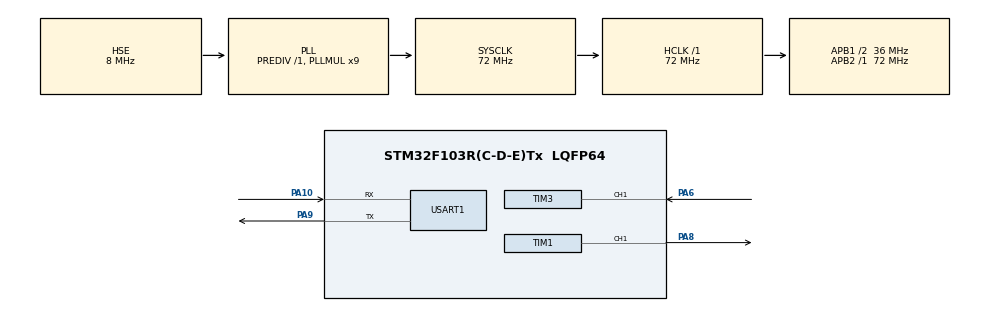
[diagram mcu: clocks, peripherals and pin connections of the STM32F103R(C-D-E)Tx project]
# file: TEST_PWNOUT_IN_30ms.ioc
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Mcu.Family=STM32F1
Mcu.Name=STM32F103R(C-D-E)Tx
Mcu.Package=LQFP64
NVIC.PriorityGroup=NVIC_PRIORITYGROUP_4
NVIC.TIM3_IRQn=true\:0\:0\:false\:false\:true
NVIC.USART1_IRQn=true\:0\:0\:false\:false\:true
PA10.Mode=Asynchronous
PA10.Signal=USART1_RX
PA13.Mode=Serial_Wire
PA13.Signal=SYS_JTMS-SWDIO
PA14.Mode=Serial_Wire
PA14.Signal=SYS_JTCK-SWCLK
PA6.Signal=S_TIM3_CH1
PA8.Signal=S_TIM1_CH1
PA9.Mode=Asynchronous
PA9.Signal=USART1_TX
PD0-OSC_IN.Mode=HSE-External-Oscillator
PD0-OSC_IN.Signal=RCC_OSC_IN
PD1-OSC_OUT.Mode=HSE-External-Oscillator
PD1-OSC_OUT.Signal=RCC_OSC_OUT
ProjectManager.HeapSize=0x200
ProjectManager.StackSize=0x400
ProjectManager.TargetToolchain=MDK-ARM V5
RCC.AHBFreq_Value=72000000
RCC.APB1CLKDivider=RCC_HCLK_DIV2
RCC.APB1Freq_Value=36000000
RCC.APB1TimFreq_Value=72000000
RCC.APB2Freq_Value=72000000
RCC.APB2TimFreq_Value=72000000
RCC.HCLKFreq_Value=72000000
RCC.PLLMUL=RCC_PLL_MUL9
RCC.PLLSourceVirtual=RCC_PLLSOURCE_HSE
RCC.SYSCLKFreq_VALUE=72000000
RCC.SYSCLKSource=RCC_SYSCLKSOURCE_PLLCLK
RCC.USBFreq_Value=72000000
SH.S_TIM1_CH1.0=TIM1_CH1,PWM Generation1 CH1
SH.S_TIM3_CH1.0=TIM3_CH1,Input_Capture1_from_TI1
TIM1.Channel-PWM\ Generation1\ CH1=TIM_CHANNEL_1
TIM1.Period=19999
TIM1.Prescaler=71
TIM1.Pulse-PWM\ Generation1\ CH1=5000
TIM3.Channel-Input_Capture1_from_TI1=TIM_CHANNEL_1
TIM3.Period=0xFFFF
TIM3.Prescaler=71
USART1.VirtualMode=VM_ASYNC
board=TEST_PWNOUT_IN_30ms

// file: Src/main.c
/**
  ******************************************************************************
  * File Name          : main.c
  * Description        : Main program body
  ******************************************************************************
  ** This notice applies to any and all portions of this file
  * that are not between comment pairs USER CODE BEGIN and
  * USER CODE END. Other portions of this file, whether
  * inserted by the user or by software development tools
  * are owned by their respective copyright owners.
  *
  * COPYRIGHT(c) 2017 STMicroelectronics
  *
  * Redistribution and use in source and binary forms, with or without modification,
  * are permitted provided that the following conditions are met:
  *   1. Redistributions of source code must retain the above copyright notice,
  *      this list of conditions and the following disclaimer.
  *   2. Redistributions in binary form must reproduce the above copyright notice,
  *      this list of conditions and the following disclaimer in the documentation
  *      and/or other materials provided with the distribution.
  *   3. Neither the name of STMicroelectronics nor the names of its contributors
  *      may be used to endorse or promote products derived from this software
  *      without specific prior written permission.
  *
  * THIS SOFTWARE IS PROVIDED BY THE COPYRIGHT HOLDERS AND CONTRIBUTORS "AS IS"
  * AND ANY EXPRESS OR IMPLIED WARRANTIES, INCLUDING, BUT NOT LIMITED TO, THE
  * IMPLIED WARRANTIES OF MERCHANTABILITY AND FITNESS FOR A PARTICULAR PURPOSE ARE
  * DISCLAIMED. IN NO EVENT SHALL THE COPYRIGHT HOLDER OR CONTRIBUTORS BE LIABLE
  * FOR ANY DIRECT, INDIRECT, INCIDENTAL, SPECIAL, EXEMPLARY, OR CONSEQUENTIAL
  * DAMAGES (INCLUDING, BUT NOT LIMITED TO, PROCUREMENT OF SUBSTITUTE GOODS OR
  * SERVICES; LOSS OF USE, DATA, OR PROFITS; OR BUSINESS INTERRUPTION) HOWEVER
  * CAUSED AND ON ANY THEORY OF LIABILITY, WHETHER IN CONTRACT, STRICT LIABILITY,
  * OR TORT (INCLUDING NEGLIGENCE OR OTHERWISE) ARISING IN ANY WAY OUT OF THE USE
  * OF THIS SOFTWARE, EVEN IF ADVISED OF THE POSSIBILITY OF SUCH DAMAGE.
  *
  ******************************************************************************
  */
#include "main.h"
#include "stm32f1xx_hal.h"
#include "tim.h"
#include "usart.h"
#include "gpio.h"

/* USER CODE BEGIN PV */
/* Private variables ---------------------------------------------------------*/

/* USER CODE END PV */

void SystemClock_Config(void);

/* USER CODE BEGIN PFP */
/* Private function prototypes -----------------------------------------------*/

/* USER CODE END PFP */

/* USER CODE BEGIN 0 */

	uint16_t usCtr = 0;
	uint32_t FirstCap=0,SecondCap=0,ThreeCap=0;
	uint8_t usCntTime = 0;
/* USER CODE END 0 */

int main(void)
{

  /* MCU Configuration----------------------------------------------------------*/

  /* Reset of all peripherals, Initializes the Flash interface and the Systick. */
  HAL_Init();

  /* Configure the system clock */
  SystemClock_Config();

  /* Initialize all configured peripherals */
  MX_GPIO_Init();
  MX_TIM1_Init();
  MX_TIM3_Init();
  MX_USART1_UART_Init();

  /* USER CODE BEGIN 2 */

	HAL_TIM_PWM_Start(&htim1,TIM_CHANNEL_1);  //开启定时器1的通道1作为PWM输出

	/* PWM输入捕获 */
	HAL_TIM_Base_Start_IT(&htim3);  //启动定时器
	HAL_TIM_IC_Start_IT(&htim3,TIM_CHANNEL_1);  //启动定时器通道输入捕获并开启中断

	/*开串口接收中断*/
	__HAL_UART_ENABLE_IT(&huart1,UART_IT_RXNE);

	printf("Hello STM32CubeMX! \n\r");

  /* USER CODE END 2 */

  /* Infinite loop */
  while (1)
  {

  }

}

/** System Clock Configuration
*/
void SystemClock_Config(void)
{

  RCC_OscInitTypeDef RCC_OscInitStruct;
  RCC_ClkInitTypeDef RCC_ClkInitStruct;

    /**Initializes the CPU, AHB and APB busses clocks
    */
  RCC_OscInitStruct.OscillatorType = RCC_OSCILLATORTYPE_HSE;
  RCC_OscInitStruct.HSEState = RCC_HSE_ON;
  RCC_OscInitStruct.HSEPredivValue = RCC_HSE_PREDIV_DIV1;
  RCC_OscInitStruct.HSIState = RCC_HSI_ON;
  RCC_OscInitStruct.PLL.PLLState = RCC_PLL_ON;
  RCC_OscInitStruct.PLL.PLLSource = RCC_PLLSOURCE_HSE;
  RCC_OscInitStruct.PLL.PLLMUL = RCC_PLL_MUL9;
  if (HAL_RCC_OscConfig(&RCC_OscInitStruct) != HAL_OK)
  {
    _Error_Handler(__FILE__, __LINE__);
  }

    /**Initializes the CPU, AHB and APB busses clocks
    */
  RCC_ClkInitStruct.ClockType = RCC_CLOCKTYPE_HCLK|RCC_CLOCKTYPE_SYSCLK
                              |RCC_CLOCKTYPE_PCLK1|RCC_CLOCKTYPE_PCLK2;
  RCC_ClkInitStruct.SYSCLKSource = RCC_SYSCLKSOURCE_PLLCLK;
  RCC_ClkInitStruct.AHBCLKDivider = RCC_SYSCLK_DIV1;
  RCC_ClkInitStruct.APB1CLKDivider = RCC_HCLK_DIV2;
  RCC_ClkInitStruct.APB2CLKDivider = RCC_HCLK_DIV1;

  if (HAL_RCC_ClockConfig(&RCC_ClkInitStruct, FLASH_LATENCY_2) != HAL_OK)
  {
    _Error_Handler(__FILE__, __LINE__);
  }

    /**Configure the Systick interrupt time
    */
  HAL_SYSTICK_Config(HAL_RCC_GetHCLKFreq()/1000);

    /**Configure the Systick
    */
  HAL_SYSTICK_CLKSourceConfig(SYSTICK_CLKSOURCE_HCLK);

  /* SysTick_IRQn interrupt configuration */
  HAL_NVIC_SetPriority(SysTick_IRQn, 0, 0);
}

/* USER CODE BEGIN 4 */

/**
  * 函数功能: 定时器输入捕获中断回调函数
  * 输入参数: htim：定时器句柄
  * 返 回 值: 无
  * 说    明: 无
  */
void HAL_TIM_IC_CaptureCallback(TIM_HandleTypeDef *htim)
{

    // 获取定时器计数值
    usCtr = HAL_TIM_ReadCapturedValue(&htim3,TIM_CHANNEL_1);
    if ( usCntTime == 0 )
		{
			FirstCap = usCtr;
		}
		if( usCntTime == 1 )
		{
			SecondCap = usCtr;
			if(SecondCap<FirstCap )
			{
				ThreeCap = 65536-FirstCap+SecondCap;
			}
			else
			{
				ThreeCap = SecondCap - FirstCap;
			}

			printf("up Time is %d %d %d \n\r",FirstCap,SecondCap,ThreeCap);
		}

    // 清除中断标志位
    __HAL_TIM_CLEAR_IT(htim, TIM_IT_CC1);
    // 启动输入捕获并开启中断
    HAL_TIM_IC_Start_IT(&htim3,TIM_CHANNEL_1);
		usCntTime++;
		if ( usCntTime >= 2 )
		{
			usCntTime = 0;
		}
}

/* USER CODE END 4 */

void _Error_Handler(char * file, int line)
{
  while(1)
  {
  }
}

/************************ (C) COPYRIGHT STMicroelectronics *****END OF FILE****/
